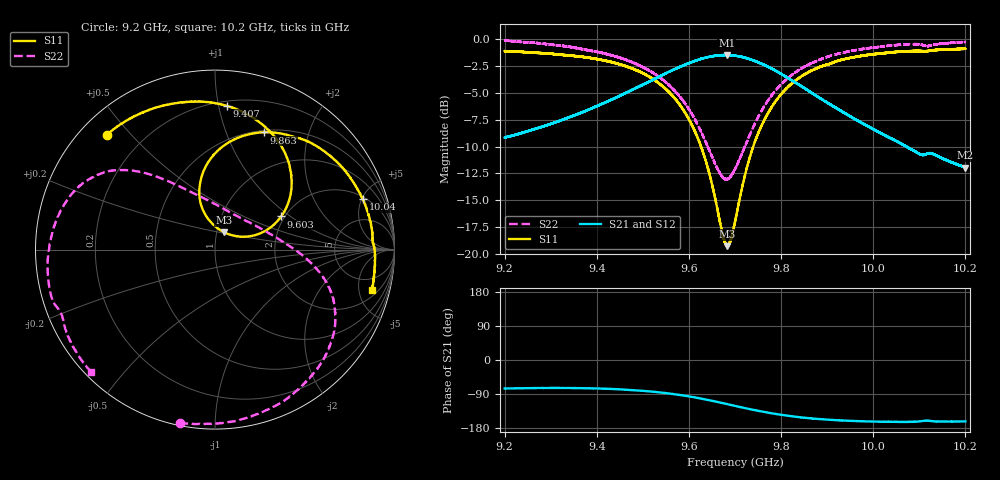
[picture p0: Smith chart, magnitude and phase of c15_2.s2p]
!Agilent Technologies,N5242A,MY51221714,A.09.90.19
!Agilent N5242A: A.09.90.19
!Date: Tuesday, March 26, 2024 15:45:23
!Correction: S11(Full 2 Port(1,2))
!S21(Full 2 Port(1,2))
!S12(Full 2 Port(1,2))
!S22(Full 2 Port(1,2))
!S2P File: Measurements: S11, S21, S12, S22:
# Hz S  dB  R 50
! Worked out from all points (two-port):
!   16001 points, 9.2 GHz to 10.2 GHz, reference 50 ohm
!   highest |S21| = -1.47 dB at 9.682 GHz (marker M1); lowest = -12.0 dB at 10.2 GHz (marker M2)
!   |S21| within 3 dB of the highest: 9.488565 GHz to 9.48915 GHz (584.7 kHz wide, 0.00616 % of centre); 9.489 GHz to 9.847 GHz (358.1 MHz wide, 3.7 % of centre)
!   lowest |S11| = -19.3 dB at 9.684 GHz (marker M3), VSWR 1.24, Z = 54 + j10.6 ohm
!   |S11| at or under -10 dB: 9.62623 GHz to 9.626281 GHz (50.54 kHz wide, 0.000525 % of centre); 9.626 GHz to 9.739 GHz (113 MHz wide, 1.17 % of centre); 9.739433 GHz to 9.73953 GHz (97.47 kHz wide, 0.001 % of centre)
!   |S22| runs from -13.1 to -0.1 dB; largest |S21 - S12| = 0.0097
!   S11 on the Smith chart (normalised r, x): 9.2 GHz: 0.08, +0.43; 9.407 GHz: 0.23, +1.06; 9.603 GHz: 1.92, +0.85; 9.863 GHz: 0.52, +1.37; 10.04 GHz: 2.20, +5.11; 10.2 GHz: 2.78, -6.80
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9.2e9  -1.11 133.3  -9.16 -75.1  -9.15 -75.8  -0.13 -101.5
9.278812e9  -1.28 116.1  -8.18 -73.9  -8.17 -74.4  -0.39 -80.0
9.366688e9  -1.64 95.5  -6.84 -74.4  -6.82 -74.9  -0.91 -57.3
9.406562e9  -1.89 85.3  -6.10 -75.4  -6.10 -76.0  -1.24 -47.3
9.469438e9  -2.62 68.2  -4.88 -78.7  -4.88 -79.3  -2.01 -32.7
9.533375e9  -4.07 48.6  -3.55 -85.0  -3.54 -85.5  -3.45 -18.5
9.602875e9  -7.70 26.6  -2.19 -96.7  -2.18 -97.2  -6.71 -1.5
9.637375e9  -11.45 19.9  -1.71 -104.5  -1.71 -105.0  -9.67 14.1
9.682125e9  -19.22 60.2  -1.47 -116.2  -1.47 -116.7  -13.05 63.3
9.683562e9  -19.28 63.4  -1.48 -116.6  -1.47 -117.1  -13.00 65.3
9.7e9  -17.03 94.4  -1.53 -121.1  -1.53 -121.5  -12.09 87.4
9.73025e9  -11.26 107.1  -1.83 -129.1  -1.82 -129.7  -9.08 113.0
9.761562e9  -7.69 100.5  -2.36 -136.6  -2.36 -137.2  -6.38 125.8
9.8135e9  -4.50 83.5  -3.57 -146.9  -3.58 -147.3  -3.67 137.6
9.862688e9  -3.01 67.4  -4.88 -153.8  -4.90 -154.3  -2.30 146.6
9.866688e9  -2.91 66.2  -4.99 -154.2  -5.01 -154.7  -2.22 147.4
9.9345e9  -1.89 46.4  -6.79 -159.7  -6.80 -160.2  -1.25 160.8
1.003338e10  -1.25 21.3  -9.14 -163.0  -9.13 -163.5  -0.61 -177.2
1.004362e10  -1.20 18.8  -9.35 -163.2  -9.36 -163.7  -0.57 -174.8
1.009819e10  -1.10 6.5  -10.62 -162.3  -10.64 -162.7  -0.47 -162.3
1.019981e10  -0.89 -14.3  -11.96 -162.0  -11.93 -162.6  -0.26 -135.5
1.02e10  -0.88 -14.4  -11.94 -162.0  -11.95 -162.6  -0.27 -135.4
